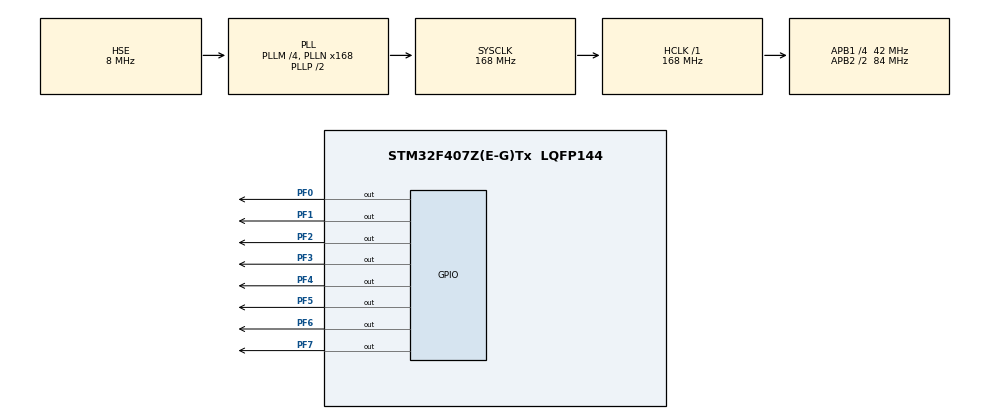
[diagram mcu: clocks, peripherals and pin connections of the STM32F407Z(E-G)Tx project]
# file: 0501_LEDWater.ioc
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Mcu.Family=STM32F4
Mcu.Name=STM32F407Z(E-G)Tx
Mcu.Package=LQFP144
NVIC.PriorityGroup=NVIC_PRIORITYGROUP_4
PA13.Mode=Serial_Wire
PA13.Signal=SYS_JTMS-SWDIO
PA14.Mode=Serial_Wire
PA14.Signal=SYS_JTCK-SWCLK
PF0.PinState=GPIO_PIN_SET
PF0.Signal=GPIO_Output
PF1.PinState=GPIO_PIN_SET
PF1.Signal=GPIO_Output
PF2.PinState=GPIO_PIN_SET
PF2.Signal=GPIO_Output
PF3.PinState=GPIO_PIN_SET
PF3.Signal=GPIO_Output
PF4.PinState=GPIO_PIN_SET
PF4.Signal=GPIO_Output
PF5.PinState=GPIO_PIN_SET
PF5.Signal=GPIO_Output
PF6.PinState=GPIO_PIN_SET
PF6.Signal=GPIO_Output
PF7.PinState=GPIO_PIN_SET
PF7.Signal=GPIO_Output
PH0-OSC_IN.Mode=HSE-External-Oscillator
PH0-OSC_IN.Signal=RCC_OSC_IN
PH1-OSC_OUT.Mode=HSE-External-Oscillator
PH1-OSC_OUT.Signal=RCC_OSC_OUT
ProjectManager.HeapSize=0x200
ProjectManager.StackSize=0x400
ProjectManager.TargetToolchain=MDK-ARM V5.32
RCC.48MHZClocksFreq_Value=84000000
RCC.AHBFreq_Value=168000000
RCC.APB1CLKDivider=RCC_HCLK_DIV4
RCC.APB1Freq_Value=42000000
RCC.APB1TimFreq_Value=84000000
RCC.APB2CLKDivider=RCC_HCLK_DIV2
RCC.APB2Freq_Value=84000000
RCC.APB2TimFreq_Value=168000000
RCC.CortexFreq_Value=168000000
RCC.HCLKFreq_Value=168000000
RCC.HSE_VALUE=8000000
RCC.HSI_VALUE=16000000
RCC.LSE_VALUE=32768
RCC.PLLM=4
RCC.PLLN=168
RCC.PLLSourceVirtual=RCC_PLLSOURCE_HSE
RCC.SYSCLKFreq_VALUE=168000000
RCC.SYSCLKSource=RCC_SYSCLKSOURCE_PLLCLK
RCC.VCOOutputFreq_Value=336000000
board=custom

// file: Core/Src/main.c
/* USER CODE BEGIN Header */
/**
  ******************************************************************************
  * @file           : main.c
  * @brief          : Main program body
  ******************************************************************************
  * @attention
  *
  * Copyright (c) 2026 STMicroelectronics.
  * All rights reserved.
  *
  * This software is licensed under terms that can be found in the LICENSE file
  * in the root directory of this software component.
  * If no LICENSE file comes with this software, it is provided AS-IS.
  *
  ******************************************************************************
  */
/* USER CODE END Header */
#include "main.h"
void SystemClock_Config(void);
static void MX_GPIO_Init(void);
int main(void)
{
  /* MCU Configuration--------------------------------------------------------*/
  /* Reset of all peripherals, Initializes the Flash interface and the Systick. */
  HAL_Init();
  /* Configure the system clock */
  SystemClock_Config();
  /* Initialize all configured peripherals */
  MX_GPIO_Init();
  /* Infinite loop */
  /* USER CODE BEGIN WHILE */
  while (1)
  {
    // PF0?,????
    GPIOF->ODR = 0xFE;
    HAL_Delay(500);

    // PF1?
    GPIOF->ODR = 0xFD;
    HAL_Delay(500);

    // PF2?
    GPIOF->ODR = 0xFB;
    HAL_Delay(500);

    // PF3?
    GPIOF->ODR = 0xF7;
    HAL_Delay(500);

    // PF4?
    GPIOF->ODR = 0xEF;
    HAL_Delay(500);

    // PF5?
    GPIOF->ODR = 0xDF;
    HAL_Delay(500);

    // PF6?
    GPIOF->ODR = 0xBF;
    HAL_Delay(500);

    // PF7?
    GPIOF->ODR = 0x7F;
    HAL_Delay(500);
  }
  /* USER CODE END WHILE */
}
void SystemClock_Config(void)
{
  RCC_OscInitTypeDef RCC_OscInitStruct = {0};
  RCC_ClkInitTypeDef RCC_ClkInitStruct = {0};
  /** Configure the main internal regulator output voltage
  */
  __HAL_RCC_PWR_CLK_ENABLE();
  __HAL_PWR_VOLTAGESCALING_CONFIG(PWR_REGULATOR_VOLTAGE_SCALE1);
  /** Initializes the RCC Oscillators according to the specified parameters
  * in the RCC_OscInitTypeDef structure.
  */
  RCC_OscInitStruct.OscillatorType = RCC_OSCILLATORTYPE_HSE;
  RCC_OscInitStruct.HSEState = RCC_HSE_ON;
  RCC_OscInitStruct.PLL.PLLState = RCC_PLL_ON;
  RCC_OscInitStruct.PLL.PLLSource = RCC_PLLSOURCE_HSE;
  RCC_OscInitStruct.PLL.PLLM = 4;
  RCC_OscInitStruct.PLL.PLLN = 168;
  RCC_OscInitStruct.PLL.PLLP = RCC_PLLP_DIV2;
  RCC_OscInitStruct.PLL.PLLQ = 4;
  if (HAL_RCC_OscConfig(&RCC_OscInitStruct) != HAL_OK)
  {
    Error_Handler();
  }
  /** Initializes the CPU, AHB and APB buses clocks
  */
  RCC_ClkInitStruct.ClockType = RCC_CLOCKTYPE_HCLK|RCC_CLOCKTYPE_SYSCLK
                              |RCC_CLOCKTYPE_PCLK1|RCC_CLOCKTYPE_PCLK2;
  RCC_ClkInitStruct.SYSCLKSource = RCC_SYSCLKSOURCE_PLLCLK;
  RCC_ClkInitStruct.AHBCLKDivider = RCC_SYSCLK_DIV1;
  RCC_ClkInitStruct.APB1CLKDivider = RCC_HCLK_DIV4;
  RCC_ClkInitStruct.APB2CLKDivider = RCC_HCLK_DIV2;
  if (HAL_RCC_ClockConfig(&RCC_ClkInitStruct, FLASH_LATENCY_5) != HAL_OK)
  {
    Error_Handler();
  }
}
static void MX_GPIO_Init(void)
{
  GPIO_InitTypeDef GPIO_InitStruct = {0};
  /* GPIO Ports Clock Enable */
  __HAL_RCC_GPIOF_CLK_ENABLE();
  __HAL_RCC_GPIOH_CLK_ENABLE();
  __HAL_RCC_GPIOA_CLK_ENABLE();
  /*Configure GPIO pin Output Level */
  HAL_GPIO_WritePin(GPIOF, GPIO_PIN_0|GPIO_PIN_1|GPIO_PIN_2|GPIO_PIN_3
                          |GPIO_PIN_4|GPIO_PIN_5|GPIO_PIN_6|GPIO_PIN_7, GPIO_PIN_SET);
  /*Configure GPIO pins : PF0 PF1 PF2 PF3
                           PF4 PF5 PF6 PF7 */
  GPIO_InitStruct.Pin = GPIO_PIN_0|GPIO_PIN_1|GPIO_PIN_2|GPIO_PIN_3
                          |GPIO_PIN_4|GPIO_PIN_5|GPIO_PIN_6|GPIO_PIN_7;
  GPIO_InitStruct.Mode = GPIO_MODE_OUTPUT_PP;
  GPIO_InitStruct.Pull = GPIO_NOPULL;
  GPIO_InitStruct.Speed = GPIO_SPEED_FREQ_LOW;
  HAL_GPIO_Init(GPIOF, &GPIO_InitStruct);
}
void Error_Handler(void)
{
  __disable_irq();
  while (1)
  {
  }
}
